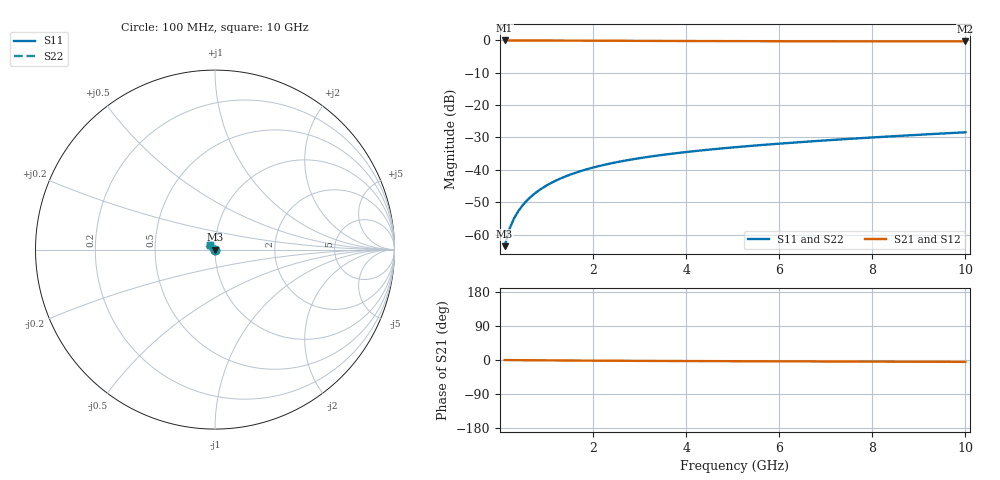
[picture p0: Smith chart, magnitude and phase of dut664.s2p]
! Touchstone file exported from HFSS 2024.1.0
!  File:  C:/UserFiles/LocalFiles/RDL_TSV_Batchsim/temp_TSV1_664_1779793535.aedt
!  Generated:  07:12:07 PM May 26, 2026
!  Design:  TSV1
!  Project:  temp_TSV1_664_1779793535
!  Setup:  Setup1
!  Solution:  Sweep
! Variables:
!  dtsv = 6.43um
!  hbump = 3um
!  htsv = 70.53um
!  lrdl = 252.1521522um
!  p = 40
!  p1 = 55.98um
!  t = 500um
!  trdl = 3um
!  wrdl = 24.89489489um
# GHz S MA R 50.000000
! Terminal data exported
! Port[1] = TSV22_T1
! Port[2] = TSV22_T2
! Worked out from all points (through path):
!   100 points, 100 MHz to 10 GHz, reference 50 ohm
!   highest |S21| = 0.00 dB at 100 MHz (marker M1); lowest = -0.3 dB at 10 GHz (marker M2)
!   lowest |S11| = -63.6 dB at 100 MHz (marker M3), VSWR 1.00, Z = 50 - j0.0593 ohm
!   |S11| at or under -10 dB: start of sweep to end of sweep
!   |S22| runs from -63.6 to -28.4 dB; largest |S21 - S12| = 4.5e-15
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0.1  0.0006609 -63.7  0.9997 -0.1  0.9997 -0.1  0.0006609 -63.7
! Gamma 0 0 0 0
! Port Impedance 50 0 50 0
0.2  0.001201 -79.7  0.9996 -0.2  0.9996 -0.2  0.001201 -79.7
0.3  0.001765 -87.2  0.9994 -0.3  0.9994 -0.3  0.001765 -87.2
0.4  0.002335 -92.3  0.9992 -0.4  0.9992 -0.4  0.002335 -92.3
0.5  0.002907 -96.4  0.999 -0.5  0.999 -0.5  0.002907 -96.4
0.6  0.003477 -99.9  0.9987 -0.6  0.9987 -0.6  0.003477 -99.9
0.7  0.004045 -103.0  0.9984 -0.7  0.9984 -0.7  0.004045 -103.0
0.8  0.004609 -106.0  0.998 -0.8  0.998 -0.8  0.004609 -106.0
0.9  0.005169 -108.8  0.9976 -0.9  0.9976 -0.9  0.005169 -108.8
1.1  0.00627 -114.1  0.9967 -1.0  0.9967 -1.0  0.00627 -114.1
1.4  0.007867 -121.4  0.9951 -1.3  0.9951 -1.3  0.007867 -121.4
1.6  0.008892 -126.0  0.994 -1.4  0.994 -1.4  0.008892 -126.0
1.8  0.009882 -130.5  0.9928 -1.6  0.9928 -1.6  0.009882 -130.5
2.1  0.0113 -136.8  0.9909 -1.8  0.9909 -1.8  0.0113 -136.8
2.5  0.01308 -144.7  0.9884 -2.0  0.9884 -2.0  0.01308 -144.7
2.9  0.01474 -152.0  0.986 -2.3  0.986 -2.3  0.01474 -152.0
3.4  0.01668 -160.3  0.9832 -2.5  0.9832 -2.5  0.01668 -160.3
4.2  0.01953 -172.0  0.9792 -2.8  0.9792 -2.8  0.01953 -172.0
5.1  0.02251 176.9  0.9757 -3.2  0.9757 -3.2  0.02251 176.9
6.7  0.02757 161.4  0.9712 -3.8  0.9712 -3.8  0.02757 161.4
8.4  0.03292 149.2  0.9681 -4.4  0.9681 -4.4  0.03292 149.2
10  0.03805 140.4  0.9659 -5.0  0.9659 -5.0  0.03805 140.4
